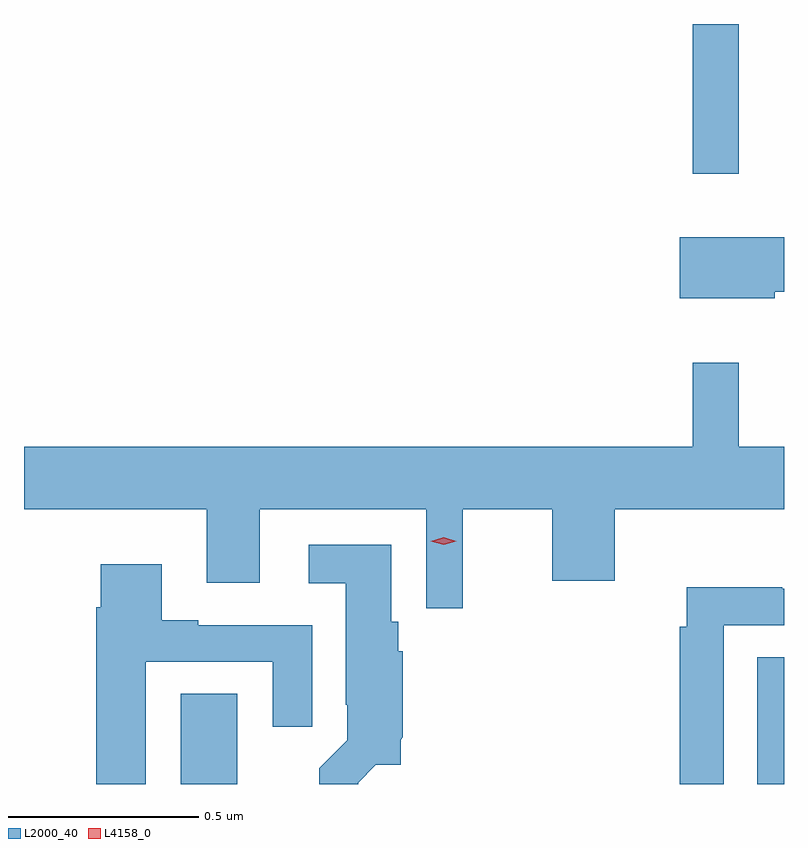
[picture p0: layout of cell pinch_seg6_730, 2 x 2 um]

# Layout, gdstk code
import gdstk
lib = gdstk.Library(unit=1e-6, precision=1e-09)
def R(c, l, rs):  # rectangles x0, y0, x1, y1
    for r in rs: c.add(gdstk.rectangle(r[:2], r[2:], *l))
def P(c, l, *ps):  # polygons
    for p in ps: c.add(gdstk.Polygon(p, *l))
L2000_40 = (2000, 40)
L4158_0 = (4158, 0)

pinch_seg6_730 = lib.new_cell('pinch_seg6_730')
R(pinch_seg6_730, L2000_40, [(475.718,949.277,475.867,949.514), (477.236,949.277,477.306,949.61), (477.066,950.883,477.187,951.277)])
P(pinch_seg6_730, L2000_40, [(477.282,950.573),(477.306,950.573),(477.306,950.716),(477.032,950.716),(477.032,950.555),(477.282,950.555)],
  [(476.46,950),(476.696,950),(476.696,949.812),(476.86,949.812),(476.86,950),(477.306,950),(477.306,950.164),(477.187,950.164),(477.187,950.386),(477.066,950.386),(477.066,950.164),(475.306,950.164),(475.306,950),(475.787,950),(475.787,949.806),(475.927,949.806),(475.927,950),(476.364,950),(476.364,949.74),(476.46,949.74)],
  [(476.185,949.28),(476.232,949.328),(476.297,949.328),(476.297,949.394),(476.303,949.4),(476.303,949.626),(476.291,949.626),(476.291,949.704),(476.272,949.704),(476.272,949.906),(476.055,949.906),(476.055,949.805),(476.153,949.805),(476.153,949.486),(476.157,949.486),(476.157,949.392),(476.083,949.318),(476.083,949.277),(476.185,949.277)],
  [(475.627,949.599),(475.961,949.599),(475.961,949.428),(476.065,949.428),(476.065,949.695),(475.765,949.695),(475.765,949.708),(475.669,949.708),(475.669,949.855),(475.508,949.855),(475.508,949.742),(475.496,949.742),(475.496,949.277),(475.627,949.277)],
  [(477.147,949.695),(477.306,949.695),(477.306,949.791),(477.301,949.791),(477.301,949.795),(477.05,949.795),(477.05,949.691),(477.031,949.691),(477.031,949.277),(477.147,949.277)])
P(pinch_seg6_730, L4158_0, [(476.41,949.906),(476.376,949.916),(476.376,949.916),(476.376,949.916),(476.41,949.926),(476.444,949.916),(476.444,949.916),(476.444,949.916)])

lib.write_gds('pinch_seg6_730.gds')
